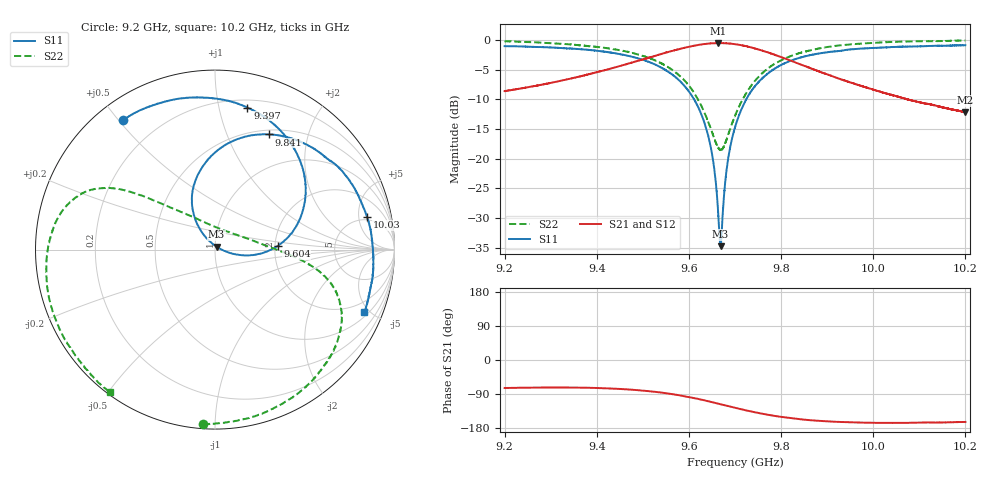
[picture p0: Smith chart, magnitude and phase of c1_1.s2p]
!Agilent Technologies,N5242A,MY51221714,A.09.90.19
!Agilent N5242A: A.09.90.19
!Date: Saturday, December 30, 2023 09:53:56
!Correction: S11(Full 2 Port(1,2))
!S21(Full 2 Port(1,2))
!S12(Full 2 Port(1,2))
!S22(Full 2 Port(1,2))
!S2P File: Measurements: S11, S21, S12, S22:
# Hz S  dB  R 50
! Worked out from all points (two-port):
!   16001 points, 9.2 GHz to 10.2 GHz, reference 50 ohm
!   highest |S21| = -0.54 dB at 9.664 GHz (marker M1); lowest = -12.2 dB at 10.2 GHz (marker M2)
!   |S21| within 3 dB of the highest: 9.489 GHz to 9.822 GHz (333.2 MHz wide, 3.45 % of centre); 9.822174 GHz to 9.822276 GHz (102 kHz wide, 0.00104 % of centre)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
!   lowest |S11| = -34.7 dB at 9.669 GHz (marker M3), VSWR 1.04, Z = 50.9 + j1.62 ohm
!   |S11| at or under -10 dB: 9.611 GHz to 9.725 GHz (113.6 MHz wide, 1.17 % of centre)
!   |S22| runs from -18.6 to -0.1 dB; largest |S21 - S12| = 0.01
!   S11 on the Smith chart (normalised r, x): 9.2 GHz: 0.08, +0.51; 9.397 GHz: 0.26, +1.22; 9.604 GHz: 2.07, +0.10; 9.841 GHz: 0.55, +1.42; 10.03 GHz: 4.38, +6.46; 10.2 GHz: 1.26, -4.69
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9.2e9  -1.06 125.5  -8.64 -73.9  -8.63 -74.5  -0.22 -93.8
9.278e9  -1.22 107.5  -7.59 -72.6  -7.58 -73.1  -0.47 -72.7
9.366688e9  -1.58 85.5  -6.11 -72.9  -6.09 -73.5  -0.94 -49.9
9.397062e9  -1.81 77.2  -5.51 -73.8  -5.50 -74.3  -1.17 -42.4
9.466688e9  -2.65 56.3  -4.04 -77.6  -4.04 -78.1  -2.02 -27.1
9.533375e9  -4.41 33.0  -2.53 -85.0  -2.53 -85.4  -3.70 -15.0
9.603938e9  -9.15 3.4  -1.10 -98.6  -1.09 -99.1  -8.09 -2.8
9.643438e9  -16.67 -12.1  -0.63 -109.2  -0.62 -109.7  -14.11 17.3
9.65525e9  -21.89 -12.3  -0.57 -112.6  -0.56 -113.1  -16.64 33.7
9.6635e9  -29.11 1.9  -0.54 -115.1  -0.54 -115.5  -18.16 52.9
9.668688e9  -34.75 60.2  -0.54 -116.6  -0.54 -117.1  -18.53 68.0
9.683625e9  -20.78 126.8  -0.60 -121.1  -0.59 -121.6  -16.36 106.8
9.7e9  -14.76 124.1  -0.73 -125.9  -0.71 -126.5  -12.80 125.4
9.75075e9  -7.14 101.6  -1.62 -139.8  -1.60 -140.3  -6.26 143.0
9.797062e9  -4.35 81.6  -2.81 -149.5  -2.82 -150.1  -3.57 148.9
9.8415e9  -3.00 64.9  -4.11 -156.3  -4.10 -156.8  -2.19 155.0
9.866688e9  -2.51 56.4  -4.84 -159.2  -4.85 -159.7  -1.70 158.8
9.952062e9  -1.60 31.9  -7.20 -164.4  -7.21 -165.0  -0.76 174.7
1.003238e10  -1.24 12.2  -9.11 -165.9  -9.11 -166.4  -0.38 -167.6
1.003338e10  -1.25 11.9  -9.14 -165.9  -9.14 -166.5  -0.38 -167.4
1.019925e10  -0.90 -22.5  -12.18 -163.5  -12.16 -164.0  -0.12 -126.7
1.02e10  -0.90 -22.6  -12.17 -163.5  -12.16 -164.1  -0.11 -126.5
